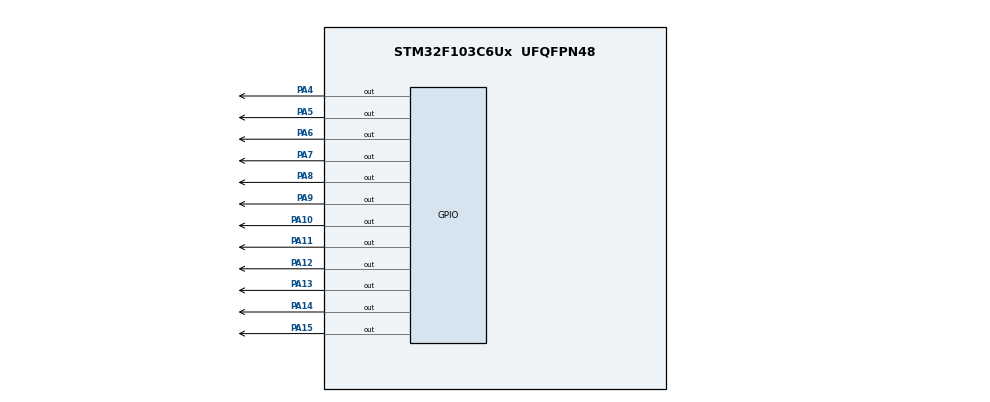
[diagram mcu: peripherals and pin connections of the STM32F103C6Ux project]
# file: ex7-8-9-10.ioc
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Mcu.Family=STM32F1
Mcu.Name=STM32F103C6Ux
Mcu.Package=UFQFPN48
NVIC.PriorityGroup=NVIC_PRIORITYGROUP_4
PA10.Signal=GPIO_Output
PA11.Signal=GPIO_Output
PA12.Signal=GPIO_Output
PA13.Signal=GPIO_Output
PA14.Signal=GPIO_Output
PA15.Signal=GPIO_Output
PA4.Signal=GPIO_Output
PA5.Signal=GPIO_Output
PA6.Signal=GPIO_Output
PA7.Signal=GPIO_Output
PA8.Signal=GPIO_Output
PA9.Signal=GPIO_Output
ProjectManager.HeapSize=0x200
ProjectManager.StackSize=0x400
ProjectManager.TargetToolchain=STM32CubeIDE
RCC.APB1Freq_Value=8000000
RCC.APB2Freq_Value=8000000
VP_SYS_VS_ND.Mode=No_Debug
board=custom

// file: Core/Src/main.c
/* USER CODE BEGIN Header */
/**
  ******************************************************************************
  * @file           : main.c
  * @brief          : Main program body
  ******************************************************************************
  * @attention
  *
  * <h2><center>&copy; Copyright (c) 2022 STMicroelectronics.
  * All rights reserved.</center></h2>
  *
  * This software component is licensed by ST under BSD 3-Clause license,
  * the "License"; You may not use this file except in compliance with the
  * License. You may obtain a copy of the License at:
  *                        opensource.org/licenses/BSD-3-Clause
  *
  ******************************************************************************
  */
/* USER CODE END Header */
#include "main.h"

void SystemClock_Config(void);
static void MX_GPIO_Init(void);
/* USER CODE BEGIN PFP */
void clearAllClock();
void setNumberOnClock(int);
void clearNumberOnClock(int);
void displayClock();
/* USER CODE END PFP */

int main(void)
{

  /* MCU Configuration--------------------------------------------------------*/

  /* Reset of all peripherals, Initializes the Flash interface and the Systick. */
  HAL_Init();

  /* Configure the system clock */
  SystemClock_Config();

  /* Initialize all configured peripherals */
  MX_GPIO_Init();

  /* Infinite loop */
  /* USER CODE BEGIN WHILE */
  while (1)
  {
	  displayClock();
	  HAL_Delay(10);
    /* USER CODE END WHILE */

  }
}

void SystemClock_Config(void)
{
  RCC_OscInitTypeDef RCC_OscInitStruct = {0};
  RCC_ClkInitTypeDef RCC_ClkInitStruct = {0};

  /** Initializes the RCC Oscillators according to the specified parameters
  * in the RCC_OscInitTypeDef structure.
  */
  RCC_OscInitStruct.OscillatorType = RCC_OSCILLATORTYPE_HSI;
  RCC_OscInitStruct.HSIState = RCC_HSI_ON;
  RCC_OscInitStruct.HSICalibrationValue = RCC_HSICALIBRATION_DEFAULT;
  RCC_OscInitStruct.PLL.PLLState = RCC_PLL_NONE;
  if (HAL_RCC_OscConfig(&RCC_OscInitStruct) != HAL_OK)
  {
    Error_Handler();
  }
  /** Initializes the CPU, AHB and APB buses clocks
  */
  RCC_ClkInitStruct.ClockType = RCC_CLOCKTYPE_HCLK|RCC_CLOCKTYPE_SYSCLK
                              |RCC_CLOCKTYPE_PCLK1|RCC_CLOCKTYPE_PCLK2;
  RCC_ClkInitStruct.SYSCLKSource = RCC_SYSCLKSOURCE_HSI;
  RCC_ClkInitStruct.AHBCLKDivider = RCC_SYSCLK_DIV1;
  RCC_ClkInitStruct.APB1CLKDivider = RCC_HCLK_DIV1;
  RCC_ClkInitStruct.APB2CLKDivider = RCC_HCLK_DIV1;

  if (HAL_RCC_ClockConfig(&RCC_ClkInitStruct, FLASH_LATENCY_0) != HAL_OK)
  {
    Error_Handler();
  }
}

static void MX_GPIO_Init(void)
{
  GPIO_InitTypeDef GPIO_InitStruct = {0};

  /* GPIO Ports Clock Enable */
  __HAL_RCC_GPIOA_CLK_ENABLE();

  /*Configure GPIO pin Output Level */
  HAL_GPIO_WritePin(GPIOA, GPIO_PIN_4|GPIO_PIN_5|GPIO_PIN_6|GPIO_PIN_7
                          |GPIO_PIN_8|GPIO_PIN_9|GPIO_PIN_10|GPIO_PIN_11
                          |GPIO_PIN_12|GPIO_PIN_13|GPIO_PIN_14|GPIO_PIN_15, GPIO_PIN_RESET);

  /*Configure GPIO pins : PA4 PA5 PA6 PA7
                           PA8 PA9 PA10 PA11
                           PA12 PA13 PA14 PA15 */
  GPIO_InitStruct.Pin = GPIO_PIN_4|GPIO_PIN_5|GPIO_PIN_6|GPIO_PIN_7
                          |GPIO_PIN_8|GPIO_PIN_9|GPIO_PIN_10|GPIO_PIN_11
                          |GPIO_PIN_12|GPIO_PIN_13|GPIO_PIN_14|GPIO_PIN_15;
  GPIO_InitStruct.Mode = GPIO_MODE_OUTPUT_PP;
  GPIO_InitStruct.Pull = GPIO_NOPULL;
  GPIO_InitStruct.Speed = GPIO_SPEED_FREQ_LOW;
  HAL_GPIO_Init(GPIOA, &GPIO_InitStruct);

}

/* USER CODE BEGIN 4 */
void clearAllClock(){
	HAL_GPIO_WritePin(GPIOA, GPIO_PIN_4|GPIO_PIN_5|GPIO_PIN_6|GPIO_PIN_7
                          |GPIO_PIN_8|GPIO_PIN_9|GPIO_PIN_10|GPIO_PIN_11
                          |GPIO_PIN_12|GPIO_PIN_13|GPIO_PIN_14|GPIO_PIN_15, 1);
}
void setNumberOnClock(int num){
	HAL_GPIO_WritePin(GPIOA, GPIO_PIN_4 << num, 0);
}
void clearNumberOnClock(int num){
	HAL_GPIO_WritePin(GPIOA, GPIO_PIN_4 << num, 1);
}
void displayClock(){
	static int hr = 11;
	static int min = 59;
	static int sec = 59;
	if (sec == 59){
		sec = 0;
	}
	else sec ++;
	if (sec == 0){
		if (min == 59) min = 0;
		else min ++;
		if (min == 0){
			if (hr == 11) hr = 0;
			else hr ++;
		}
	}
	clearAllClock();
	setNumberOnClock(sec/5);
	setNumberOnClock(min/5);
	setNumberOnClock(hr);
}
/* USER CODE END 4 */

void Error_Handler(void)
{
  __disable_irq();
  while (1)
  {
  }
}

/************************ (C) COPYRIGHT STMicroelectronics *****END OF FILE****/
